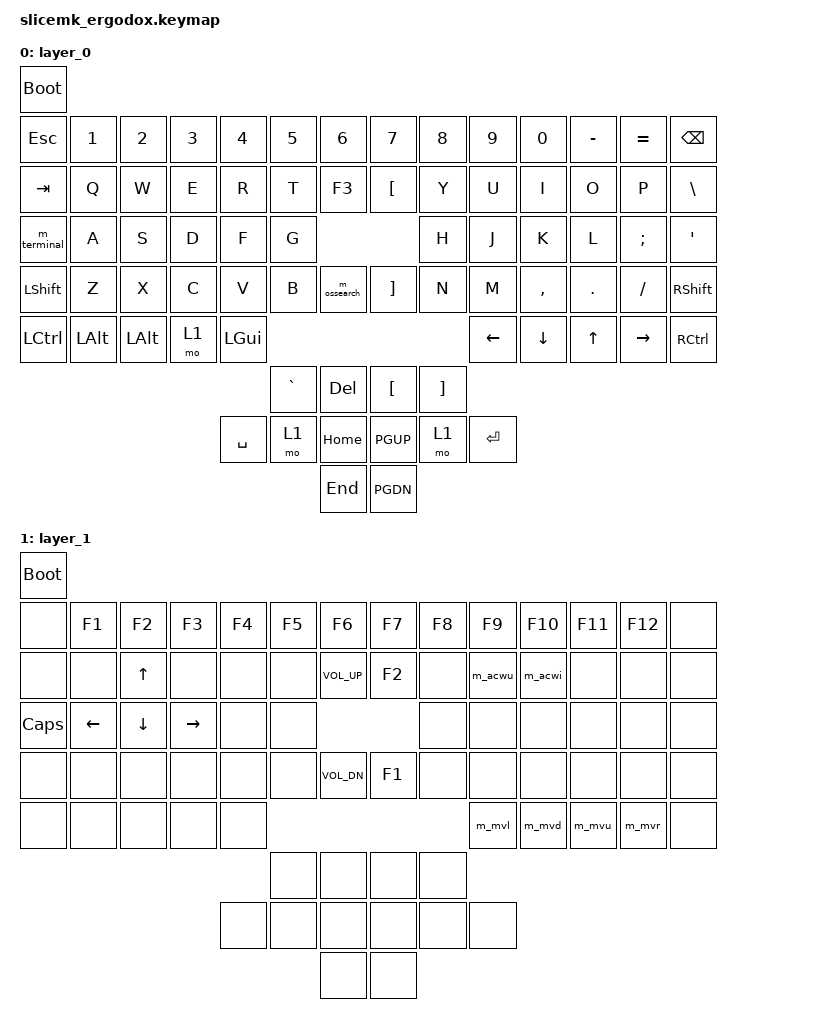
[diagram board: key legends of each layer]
#include <behaviors.dtsi>
#include <dt-bindings/zmk/bt.h>
#include <dt-bindings/zmk/keys.h>
#include <dt-bindings/zmk/outputs.h>

/ {
	keymap {
		compatible = "zmk,keymap";
		layer_0 {
			bindings = <
				&bootloader
				&kp ESC     &kp N1   &kp N2   &kp N3 &kp N4    &kp N5    &kp N6      &kp N7   &kp N8   &kp N9     &kp N0    &kp MINUS  &kp EQUAL &kp BACKSPACE
				&kp TAB     &kp Q    &kp W    &kp E  &kp R     &kp T     &kp F3      &kp LBKT &kp Y    &kp U      &kp I     &kp O      &kp P     &kp BACKSLASH
				&m_terminal &kp A    &kp S    &kp D  &kp F     &kp G                          &kp H    &kp J      &kp K     &kp L      &kp SEMI  &kp QUOT
				&kp LSHIFT  &kp Z    &kp X    &kp C  &kp V     &kp B     &m_ossearch &kp RBKT &kp N    &kp M      &kp COMMA &kp PERIOD &kp SLASH &kp RSHIFT
				&kp LCTRL   &kp LALT &kp LALT &mo 1  &kp LGUI                                          &kp LEFT   &kp DOWN  &kp UP     &kp RIGHT &kp RCTL
				                                               &kp GRAVE &kp DEL     &kp LBKT &kp RBKT
				                                     &kp SPACE &mo 1     &kp HOME    &kp PGUP &mo 1    &kp RETURN
				                                                         &kp END     &kp PGDN
			>;
		};
		layer_1 {
			bindings = <
				&bootloader
				&none    &kp F1   &kp F2   &kp F3    &kp F4 &kp F5 &kp F6       &kp F7 &kp F8 &kp F9   &kp F10 &kp F11 &kp F12 &none
				&none    &none    &kp UP   &none     &none  &none  &kp C_VOL_UP &kp F2 &none  &m_acwu  &m_acwi &none   &none   &none
				&kp CAPS &kp LEFT &kp DOWN &kp RIGHT &none  &none                      &none  &none    &none   &none   &none   &none
				&none    &none    &none    &none     &none  &none  &kp C_VOL_DN &kp F1 &none  &none    &none   &none   &none   &none
				&none    &none    &none    &none     &none                                    &m_mvl   &m_mvd  &m_mvu  &m_mvr  &none
				                                            &none  &none        &none  &none
				                                     &none  &none  &none        &none  &none  &none
				                                                   &none        &none
			>;
		};
	};

	ZMK_MACRO(m_terminal, bindings = <&macro_press &kp LALT>, <&macro_tap &kp SPACE>, <&macro_release &kp LALT>;)
	ZMK_MACRO(m_ossearch, bindings = <&macro_press &kp LGUI>, <&macro_tap &kp SPACE>, <&macro_release &kp LGUI>;)
	ZMK_MACRO(m_acwu, bindings = <&macro_press &kp LCTRL>, <&macro_press &kp LALT>, <&macro_press &kp LGUI>, <&macro_tap &kp U>, <&macro_release &kp LGUI>, <&macro_release &kp LALT>, <&macro_release &kp LCTRL>;)
	ZMK_MACRO(m_acwi, bindings = <&macro_press &kp LCTRL>, <&macro_press &kp LALT>, <&macro_press &kp LGUI>, <&macro_tap &kp I>, <&macro_release &kp LGUI>, <&macro_release &kp LALT>, <&macro_release &kp LCTRL>;)
	ZMK_MACRO(m_mvl, bindings = <&macro_press &kp LCTRL>, <&macro_press &kp LALT>, <&macro_press &kp LGUI>, <&macro_tap &kp LEFT>, <&macro_release &kp LGUI>, <&macro_release &kp LALT>, <&macro_release &kp LCTRL>;)
	ZMK_MACRO(m_mvd, bindings = <&macro_press &kp LCTRL>, <&macro_press &kp LALT>, <&macro_press &kp LGUI>, <&macro_tap &kp DOWN>, <&macro_release &kp LGUI>, <&macro_release &kp LALT>, <&macro_release &kp LCTRL>;)
	ZMK_MACRO(m_mvu, bindings = <&macro_press &kp LCTRL>, <&macro_press &kp LALT>, <&macro_press &kp LGUI>, <&macro_tap &kp UP>, <&macro_release &kp LGUI>, <&macro_release &kp LALT>, <&macro_release &kp LCTRL>;)
	ZMK_MACRO(m_mvr, bindings = <&macro_press &kp LCTRL>, <&macro_press &kp LALT>, <&macro_press &kp LGUI>, <&macro_tap &kp RIGHT>, <&macro_release &kp LGUI>, <&macro_release &kp LALT>, <&macro_release &kp LCTRL>;)
};
